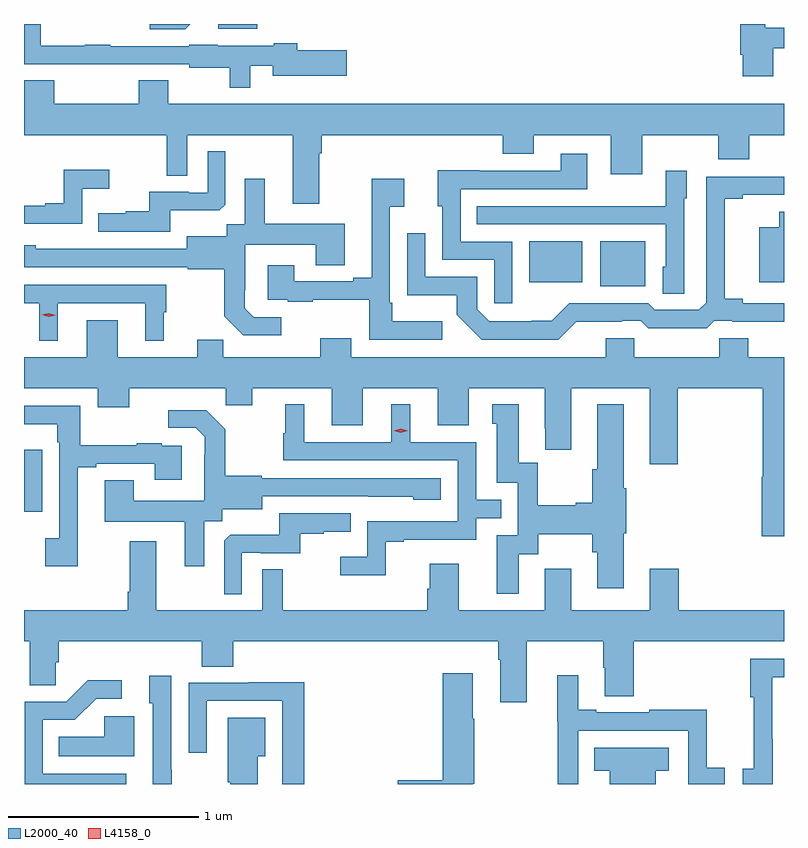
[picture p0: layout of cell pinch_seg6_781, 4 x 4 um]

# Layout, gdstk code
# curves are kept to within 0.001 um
import gdstk
lib = gdstk.Library(unit=1e-6, precision=1e-09)
def R(c, l, rs):  # rectangles x0, y0, x1, y1
    for r in rs: c.add(gdstk.rectangle(r[:2], r[2:], *l))
def P(c, l, *ps):  # polygons
    for p in ps: c.add(gdstk.Polygon(p, *l))
L2000_40 = (2000, 40)
L4158_0 = (4158, 0)

pinch_seg6_781 = lib.new_cell('pinch_seg6_781')
R(pinch_seg6_781, L2000_40, [(219.978,971.994,220.074,972.319), (223.01,973.181,223.249,973.417), (222.638,973.202,222.916,973.417), (221,974.537,221.206,974.561)])
P(pinch_seg6_781, L2000_40, [(223.921,974.433),(223.978,974.433),(223.978,974.541),(223.879,974.541),(223.879,974.561),(223.748,974.561),(223.748,974.398),(223.76,974.398),(223.76,974.286),(223.921,974.286)],
  [(220.852,974.56),(220.852,974.561),(220.64,974.561),(220.64,974.534),(220.826,974.534)],
  [(221.169,974.342),(221.288,974.342),(221.288,974.288),(221.677,974.288),(221.677,974.423),(221.416,974.423),(221.416,974.459),(221.292,974.459),(221.292,974.446),(220.998,974.446),(220.998,974.452),(220.848,974.452),(220.848,974.445),(220.431,974.445),(220.431,974.452),(220.299,974.452),(220.299,974.446),(220.065,974.446),(220.065,974.561),(219.978,974.561),(219.978,974.349),(220.199,974.349),(220.199,974.348),(220.431,974.348),(220.431,974.349),(220.848,974.349),(220.848,974.33),(221.061,974.33),(221.061,974.225),(221.169,974.225)],
  [(219.978,974.264),(219.978,973.976),(220.728,973.976),(220.728,973.762),(220.836,973.762),(220.836,973.976),(221.393,973.976),(221.393,973.614),(221.533,973.614),(221.533,973.88),(221.546,973.88),(221.546,973.976),(222.497,973.976),(222.497,973.877),(222.661,973.877),(222.661,973.976),(223.067,973.976),(223.067,973.77),(223.231,973.77),(223.231,973.976),(223.631,973.976),(223.631,973.848),(223.795,973.848),(223.795,973.976),(223.978,973.976),(223.978,974.14),(220.737,974.14),(220.737,974.264),(220.582,974.264),(220.582,974.14),(220.137,974.14),(220.137,974.264)],
  [(220.747,973.58),(221.005,973.58),(221.037,973.611),(221.037,973.891),(220.944,973.891),(220.944,973.674),(220.844,973.674),(220.844,973.677),(220.637,973.677),(220.637,973.576),(220.513,973.576),(220.513,973.564),(220.369,973.564),(220.369,973.467),(220.747,973.467)],
  [(222.549,973.416),(222.276,973.416),(222.276,973.692),(222.943,973.692),(222.943,973.879),(222.803,973.879),(222.803,973.788),(222.373,973.788),(222.373,973.79),(222.155,973.79),(222.155,973.602),(222.18,973.602),(222.18,973.32),(222.453,973.32),(222.453,973.092),(222.549,973.092)],
  [(220.284,973.694),(220.426,973.694),(220.426,973.793),(220.186,973.793),(220.186,973.618),(220.091,973.618),(220.091,973.605),(219.978,973.605),(219.978,973.509),(220.284,973.509)],
  [(223.452,973.644),(223.465,973.644),(223.465,973.789),(223.356,973.789),(223.356,973.603),(223.039,973.603),(223.039,973.602),(222.361,973.602),(222.361,973.506),(223.356,973.506),(223.356,973.284),(223.34,973.284),(223.34,973.141),(223.452,973.141)],
  [(222.884,972.995),(223.124,972.995),(223.124,972.999),(223.224,972.999),(223.264,972.96),(223.571,972.96),(223.611,972.999),(223.705,972.999),(223.705,972.995),(223.978,972.995),(223.978,973.092),(223.762,973.092),(223.762,973.115),(223.667,973.115),(223.667,973.642),(223.762,973.642),(223.762,973.662),(223.978,973.662),(223.978,973.758),(223.569,973.758),(223.569,973.095),(223.53,973.056),(223.299,973.056),(223.263,973.092),(222.849,973.092),(222.755,972.998),(222.65,972.998),(222.65,972.996),(222.426,972.996),(222.363,973.059),(222.363,973.23),(222.09,973.23),(222.09,973.459),(221.994,973.459),(221.994,973.133),(222.256,973.133),(222.256,973.031),(222.386,972.9),(222.789,972.9)],
  [(222.178,972.997),(221.917,972.997),(221.917,973.093),(221.904,973.093),(221.904,973.598),(221.98,973.598),(221.98,973.747),(221.807,973.747),(221.807,973.225),(221.711,973.225),(221.711,973.206),(221.401,973.206),(221.401,973.291),(221.261,973.291),(221.261,973.11),(221.365,973.11),(221.365,973.098),(221.497,973.098),(221.497,973.109),(221.796,973.109),(221.796,972.9),(222.178,972.9)],
  [(221.332,973.017),(221.187,973.017),(221.14,973.064),(221.14,973.159),(221.142,973.159),(221.142,973.4),(221.513,973.4),(221.513,973.291),(221.665,973.291),(221.665,973.51),(221.245,973.51),(221.245,973.747),(221.141,973.747),(221.141,973.508),(221.046,973.508),(221.046,973.444),(220.835,973.444),(220.835,973.377),(220.041,973.378),(220.041,973.396),(219.978,973.396),(219.978,973.281),(220.839,973.281),(220.839,973.269),(221.031,973.269),(221.031,973.023),(221.131,972.923),(221.332,972.923)],
  [(223.978,973.573),(223.952,973.573),(223.952,973.492),(223.847,973.492),(223.847,973.202),(223.978,973.202)],
  [(220.156,973.092),(220.616,973.092),(220.616,972.893),(220.714,972.893),(220.714,973.044),(220.726,973.044),(220.726,973.188),(219.978,973.188),(219.978,973.092),(220.058,973.092),(220.058,972.893),(220.156,972.893)],
  [(223.978,972.808),(223.791,972.808),(223.791,972.906),(223.636,972.906),(223.636,972.808),(223.191,972.808),(223.191,972.906),(223.04,972.906),(223.04,972.808),(221.701,972.808),(221.701,972.907),(221.537,972.907),(221.537,972.808),(221.027,972.808),(221.027,972.899),(220.889,972.899),(220.889,972.808),(220.471,972.808),(220.471,973.003),(220.307,973.003),(220.307,972.808),(219.978,972.808),(219.978,972.644),(220.367,972.644),(220.367,972.545),(220.531,972.545),(220.531,972.644),(221.041,972.644),(221.041,972.554),(221.179,972.554),(221.179,972.644),(221.597,972.644),(221.597,972.45),(221.761,972.45),(221.761,972.644),(222.155,972.644),(222.155,972.45),(222.319,972.45),(222.319,972.644),(222.719,972.644),(222.719,972.433),(222.722,972.433),(222.722,972.321),(222.859,972.321),(222.859,972.644),(223.271,972.644),(223.271,972.243),(223.419,972.243),(223.419,972.644),(223.867,972.644),(223.867,972.177),(223.862,972.177),(223.862,971.865),(223.978,971.865)],
  [(222.583,971.77),(222.685,971.77),(222.685,971.876),(222.97,971.876),(222.97,971.781),(222.995,971.781),(222.995,971.592),(223.135,971.592),(223.135,971.88),(223.148,971.88),(223.148,972.117),(223.135,972.117),(223.135,972.559),(222.995,972.559),(222.995,972.217),(222.97,972.217),(222.97,972.041),(222.881,972.041),(222.881,972.028),(222.681,972.028),(222.681,972.251),(222.583,972.251),(222.583,972.559),(222.443,972.559),(222.443,972.456),(222.467,972.456),(222.467,972.147),(222.576,972.147),(222.576,971.871),(222.467,971.871),(222.467,971.562),(222.583,971.562)],
  [(221.883,971.835),(221.977,971.835),(221.977,971.847),(222.357,971.847),(222.357,971.961),(222.491,971.961),(222.491,972.057),(222.357,972.057),(222.357,972.36),(222.01,972.36),(222.01,972.559),(221.912,972.559),(221.912,972.36),(221.452,972.36),(221.452,972.559),(221.354,972.559),(221.354,972.408),(221.343,972.408),(221.343,972.264),(222.261,972.264),(222.261,971.943),(221.784,971.943),(221.784,971.758),(221.643,971.758),(221.643,971.66),(221.883,971.66)],
  [(220.261,972.228),(220.357,972.228),(220.357,972.246),(220.667,972.246),(220.667,972.162),(220.807,972.162),(220.807,972.342),(220.703,972.342),(220.703,972.355),(220.571,972.355),(220.571,972.344),(220.273,972.344),(220.273,972.552),(219.978,972.552),(219.978,972.455),(220.152,972.455),(220.152,972.359),(220.164,972.359),(220.164,971.854),(220.089,971.854),(220.089,971.706),(220.261,971.706)],
  [(220.927,971.944),(221.022,971.944),(221.022,972.008),(221.233,972.008),(221.233,972.075),(222.027,972.074),(222.027,972.056),(222.172,972.056),(222.172,972.171),(221.229,972.171),(221.229,972.184),(221.037,972.184),(221.037,972.429),(220.937,972.529),(220.737,972.529),(220.737,972.435),(220.881,972.435),(220.928,972.388),(220.928,972.293),(220.926,972.293),(220.926,972.052),(220.555,972.052),(220.555,972.161),(220.403,972.161),(220.403,971.942),(220.823,971.942),(220.823,971.706),(220.927,971.706)],
  [(221.124,971.778),(221.224,971.778),(221.224,971.775),(221.432,971.775),(221.432,971.877),(221.555,971.877),(221.555,971.888),(221.699,971.888),(221.699,971.985),(221.322,971.985),(221.322,971.873),(221.063,971.873),(221.031,971.841),(221.031,971.561),(221.124,971.561)],
  [(222.625,971.312),(223.027,971.312),(223.027,971.174),(223.034,971.174),(223.034,971.023),(223.187,971.023),(223.187,971.312),(223.978,971.312),(223.978,971.476),(223.424,971.476),(223.424,971.695),(223.271,971.695),(223.271,971.476),(222.859,971.476),(222.859,971.695),(222.719,971.695),(222.719,971.476),(222.265,971.476),(222.265,971.719),(222.113,971.719),(222.113,971.589),(222.101,971.589),(222.101,971.476),(221.341,971.476),(221.341,971.69),(221.232,971.69),(221.232,971.476),(220.675,971.476),(220.675,971.839),(220.535,971.839),(220.535,971.572),(220.523,971.572),(220.523,971.476),(219.978,971.476),(219.978,971.312),(220.007,971.312),(220.007,971.08),(220.146,971.08),(220.146,971.203),(220.16,971.203),(220.16,971.312),(220.913,971.312),(220.913,971.179),(221.078,971.179),(221.078,971.312),(222.473,971.312),(222.473,971.216),(222.485,971.216),(222.485,970.992),(222.625,970.992)],
  [(223.918,970.796),(223.917,970.796),(223.917,971.124),(223.978,971.124),(223.978,971.22),(223.801,971.22),(223.801,971.017),(223.819,971.017),(223.819,970.641),(223.761,970.641),(223.761,970.561),(223.918,970.561)],
  [(222.34,970.563),(222.348,970.563),(222.348,970.904),(222.34,970.904),(222.34,971.143),(222.182,971.143),(222.182,970.58),(221.946,970.58),(221.946,970.561),(222.34,970.561)],
  [(222.894,970.842),(223.473,970.842),(223.473,970.561),(223.666,970.561),(223.666,970.646),(223.572,970.646),(223.572,970.951),(223.27,970.951),(223.27,970.938),(222.991,970.938),(222.991,970.951),(222.895,970.951),(222.895,971.134),(222.785,971.134),(222.785,970.889),(222.786,970.889),(222.786,970.561),(222.894,970.561)],
  [(220.755,970.637),(220.752,970.637),(220.752,971.131),(220.637,971.131),(220.637,970.986),(220.656,970.986),(220.656,970.682),(220.655,970.682),(220.655,970.561),(220.755,970.561)],
  [(220.516,970.614),(220.077,970.614),(220.077,970.899),(220.246,970.899),(220.357,971.01),(220.492,971.01),(220.492,971.108),(220.313,971.108),(220.2,970.995),(219.981,970.995),(219.981,970.561),(220.516,970.561)],
  [(221.453,971.096),(221.161,971.096),(221.161,971.094),(220.845,971.094),(220.845,970.725),(220.941,970.725),(220.941,970.998),(221.337,970.998),(221.337,970.561),(221.453,970.561)],
  [(220.558,970.918),(220.401,970.918),(220.401,970.81),(220.162,970.81),(220.162,970.706),(220.558,970.706)],
  [(221.209,970.706),(221.248,970.706),(221.248,970.909),(221.051,970.909),(221.051,970.569),(221.063,970.569),(221.063,970.561),(221.209,970.561)],
  [(223.303,970.631),(223.372,970.631),(223.372,970.753),(222.979,970.753),(222.979,970.631),(223.061,970.631),(223.061,970.561),(223.303,970.561)])
P(pinch_seg6_781, L4158_0, [(221.961,972.411),(221.925,972.42),(221.925,972.421),(221.925,972.421),(221.961,972.431),(221.997,972.421),(221.997,972.421),(221.997,972.42)],
  [(220.107,973.019),(220.071,973.03),(220.071,973.03),(220.071,973.03),(220.107,973.039),(220.143,973.029),(220.143,973.028),(220.143,973.028)])

lib.write_gds('pinch_seg6_781.gds')
